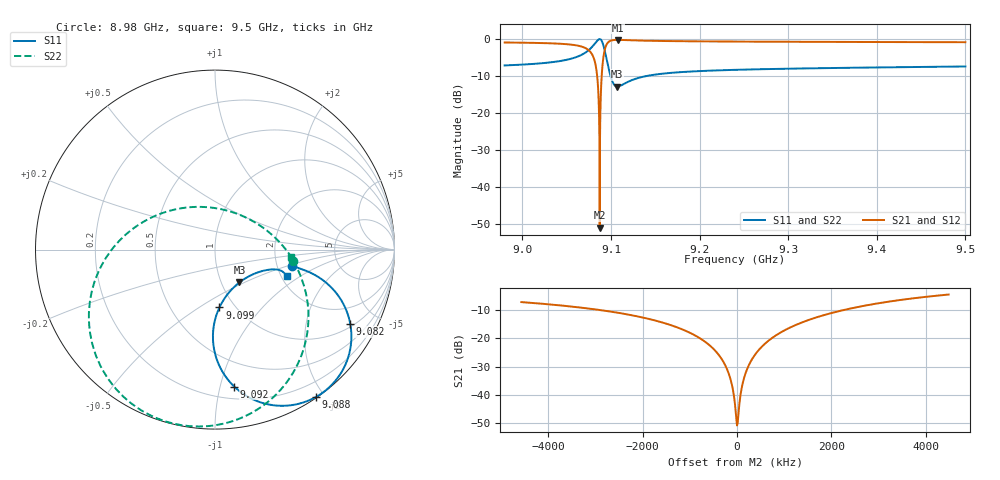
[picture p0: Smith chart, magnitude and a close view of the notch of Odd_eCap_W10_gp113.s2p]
! Sonnet Data File
! From: emgraph Version : 16.52
! From Project: Resonator2_extremeCap2
! Data is De-embedded
! Data File Written: 10/10/2017 13:11:39
!< HDATE 10/10/2017 08:28:44
!< MDATE 10/10/2017 08:28:44
!< PARAMS
!< Pwid1 = 2000.0
!< Pwid2 = 2000.0
!< Air_gap = 6.0
!< Width = 10.0
!< Gap = 113.0
!< END PARAMS
# GHZ S MA R 35.98000
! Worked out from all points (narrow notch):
!   1635 points, 8.98 GHz to 9.5 GHz, reference 35.98 ohm
!   highest |S21| = -0.23 dB at 9.107 GHz (marker M1); lowest = -50.9 dB at 9.087 GHz (marker M2)
!   notch at M2: 50.1 dB deep, 761 kHz wide at half that depth
!   lowest |S11| = -12.8 dB at 9.107 GHz (marker M3), VSWR 1.59, Z = 43.7 - j16.9 ohm
!   |S11| at or under -10 dB: 9.099555 GHz to 9.139959 GHz (40.4 MHz wide, 0.443 % of centre)
!   |S22| runs from -12.9 to 0.0 dB; largest |S21 - S12| = 0
!   S11 on the Smith chart (normalised r, x): 8.98 GHz: 2.42, -0.54; 9.082 GHz: 1.13, -3.57; 9.088 GHz: 0.01, -1.90; 9.092 GHz: 0.29, -1.11; 9.099 GHz: 0.85, -0.61; 9.5 GHz: 2.13, -0.78
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8.98  0.4396 -11.9  0.8982 -100.1  0.8982 -100.1  0.4396 -8.2
!< P1 F=8.98 Eeff=(5.37116343 -2.3769e-5) Z0=(35.9716001 8.05996e-5) R=0.0 C=0.0
!< P2 F=8.98 Eeff=(5.37116343 -2.3769e-5) Z0=(35.9716001 8.05996e-5) R=0.0 C=0.0
9.06673  0.6102 -15.3  0.792 -113.5  0.792 -113.5  0.61 -31.8
9.081559  0.8594 -28.7  0.5093 -136.4  0.5093 -136.4  0.8588 -64.4
9.084429  0.9463 -37.8  0.3186 -148.7  0.3186 -148.7  0.9453 -80.3
9.086  0.9847 -45.0  0.163 -157.6  0.163 -157.6  0.9836 -92.0
9.086931  0.9966 -50.1  0.05113 -162.1  0.05113 -162.1  0.9953 -100.2
9.087318  0.9978 -52.4  0.002836 -87.5  0.002836 -87.5  0.9965 -103.8
9.087394  0.9977 -52.9  0.01006 -5.0  0.01006 -5.0  0.9964 -104.6
9.087543  0.9973 -53.8  0.02992 4.6  0.02992 4.6  0.9959 -106.0
9.087839  0.9952 -55.6  0.07068 5.3  0.07068 5.3  0.9938 -109.0
9.088509  0.9837 -60.0  0.1658 1.0  0.1658 1.0  0.9822 -115.9
9.089521  0.9475 -66.7  0.3118 -7.4  0.3118 -7.4  0.9459 -127.0
9.092094  0.7711 -82.0  0.6333 -29.1  0.6333 -29.1  0.7694 -155.5
9.095018  0.5401 -90.8  0.8399 -48.0  0.8399 -48.0  0.5384 175.1
9.099333  0.3231 -85.6  0.9455 -64.7  0.9455 -64.7  0.3217 136.6
9.107072  0.2281 -53.3  0.9733 -78.1  0.9733 -78.1  0.2273 77.1
9.1075  0.2281 -51.8  0.9733 -78.6  0.9733 -78.6  0.2273 74.7
9.1535  0.3353 -19.2  0.9421 -93.3  0.9421 -93.3  0.3352 12.7
9.24  0.3835 -17.7  0.9235 -97.7  0.9235 -97.7  0.3835 2.2
9.327  0.4023 -18.4  0.9155 -99.8  0.9155 -99.8  0.4023 -1.3
9.4135  0.4151 -19.4  0.9098 -101.4  0.9098 -101.4  0.4151 -3.5
9.5  0.4257 -20.6  0.9049 -102.9  0.9049 -102.9  0.4257 -5.2
